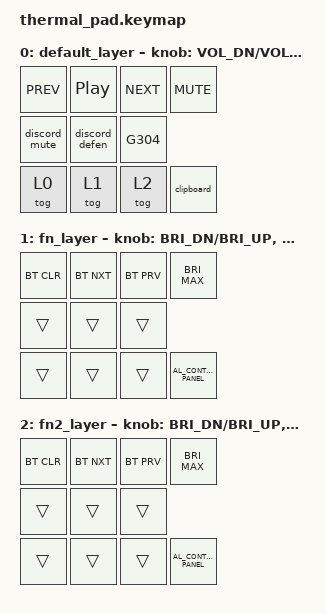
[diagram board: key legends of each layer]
#include <behaviors.dtsi>
#include <dt-bindings/zmk/bt.h>
#include <dt-bindings/zmk/keys.h>

#define DEFAULT 0
#define FUNC    1
#define FUNC2   2

/ {
    combos {
        compatible = "zmk,combos";

        combo_bootloader {
            timeout-ms = <50>;
            key-positions = <4 5 6>;
            bindings = <&bootloader>;
        };

        combo_layer {
            timeout-ms = <50>;
            key-positions = <0 1>;
            bindings = <&tog FUNC>;
        };
    };
};

/ {
    macros {
        discord_mute: discord_mute {
            compatible = "zmk,behavior-macro";
            #binding-cells = <0>;
            bindings = <&macro_tap>, <&kp LC(LS(M))>, <&macro_release>;
        };
    };
};

/ {
    macros {
        discord_defen: discord_defen {
            compatible = "zmk,behavior-macro";
            #binding-cells = <0>;
            bindings = <&macro_tap>, <&kp LC(LS(D))>, <&macro_release>;
        };

        clipboard: clipboard {
            compatible = "zmk,behavior-macro";
            #binding-cells = <0>;
            bindings = <&macro_tap>, <&kp LG(V)>, <&macro_release>;

            label = "CLIPBOARD";
        };

        G304: jit {
            compatible = "zmk,behavior-macro";
            #binding-cells = <0>;
            bindings = <&macro_tap>, <&kp KP_NUMLOCK>, <&macro_release>;

            label = "Jit";
        };
    };
};

/ {
    keymap {
        compatible = "zmk,keymap";

        default_layer {
            bindings = <
&kp C_PREV     &kp C_PLAY_PAUSE  &kp C_NEXT  &kp C_MUTE
&discord_mute  &discord_defen    &G304
&tog 0         &tog 1            &tog 2      &clipboard
            >;

            sensor-bindings = <&inc_dec_kp C_VOL_DN C_VOL_UP &inc_dec_kp PG_UP PG_DN>;
        };

        fn_layer {
            bindings = <
&bt BT_CLR  &bt BT_NXT  &bt BT_PRV  &kp C_BRI_MAX
&trans      &trans      &trans
&trans      &trans      &trans      &kp C_AL_CONTROL_PANEL
            >;

            sensor-bindings = <&inc_dec_kp C_BRI_DN C_BRI_UP &inc_dec_kp C_AC_ZOOM_OUT C_AC_ZOOM>;
        };

        fn2_layer {
            bindings = <
&bt BT_CLR  &bt BT_NXT  &bt BT_PRV  &kp C_BRI_MAX
&trans      &trans      &trans
&trans      &trans      &trans      &kp C_AL_CONTROL_PANEL
            >;

            sensor-bindings = <&inc_dec_kp C_BRI_DN C_BRI_UP &inc_dec_kp C_AC_ZOOM_OUT C_AC_ZOOM>;
        };
    };
};
